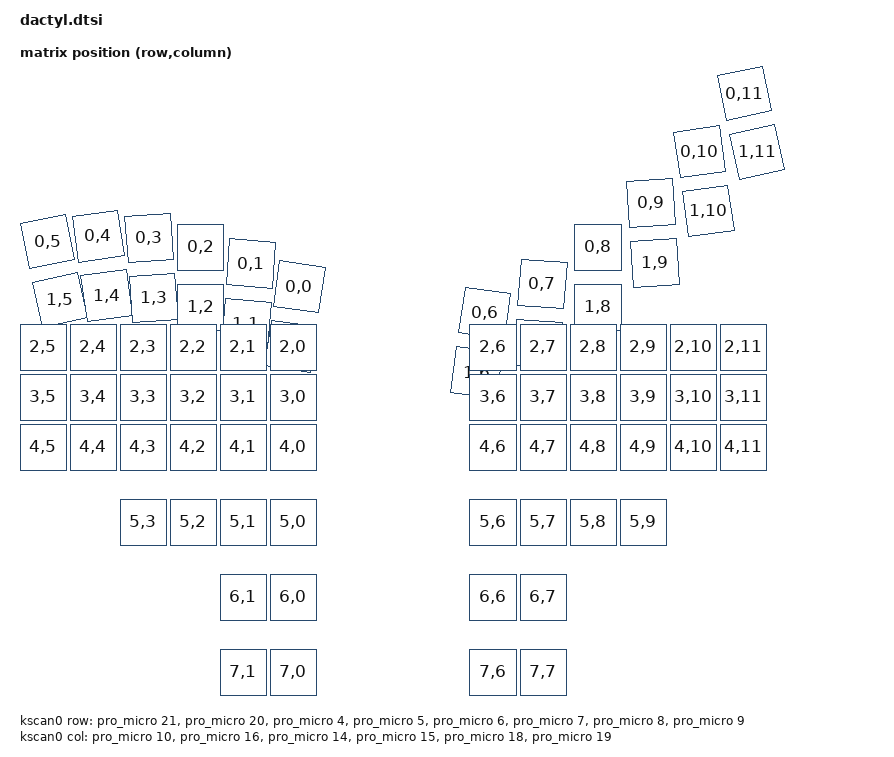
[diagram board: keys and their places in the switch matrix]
#include <dt-bindings/zmk/matrix_transform.h>
#include <physical_layouts.dtsi>

/ {
    chosen {
        zmk,kscan = &kscan0;
        zmk,physical-layout = &default_layout;
    };

    default_layout: physical_layout_0 {
        compatible = "zmk,physical-layout";
        display-name = "Dactyl Default";
        transform = <&default_transform>;
        kscan = <&kscan0>;

        // Key positions follow the 76 bindings in dactyl.keymap.
        // Values are width, height, X, Y, rotation, rotation-X, rotation-Y
        // in centi-keyunits/centi-degrees.
        keys =
            <&key_physical_attrs 100 100    0    0 (-1200) 0 0>
            , <&key_physical_attrs 100 100  105    0 (-800) 0 0>
            , <&key_physical_attrs 100 100  210    0 (-400) 0 0>
            , <&key_physical_attrs 100 100  315    0 0 0 0>
            , <&key_physical_attrs 100 100  420    0 400 0 0>
            , <&key_physical_attrs 100 100  525    0 800 0 0>
            , <&key_physical_attrs 100 100  900    0 800 0 0>
            , <&key_physical_attrs 100 100 1005    0 400 0 0>
            , <&key_physical_attrs 100 100 1110    0 0 0 0>
            , <&key_physical_attrs 100 100 1215    0 (-400) 0 0>
            , <&key_physical_attrs 100 100 1320    0 (-800) 0 0>
            , <&key_physical_attrs 100 100 1425    0 (-1200) 0 0>

            , <&key_physical_attrs 100 100    0  120 (-1200) 0 0>
            , <&key_physical_attrs 100 100  105  120 (-800) 0 0>
            , <&key_physical_attrs 100 100  210  120 (-400) 0 0>
            , <&key_physical_attrs 100 100  315  120 0 0 0>
            , <&key_physical_attrs 100 100  420  120 400 0 0>
            , <&key_physical_attrs 100 100  525  120 800 0 0>
            , <&key_physical_attrs 100 100  900  120 800 0 0>
            , <&key_physical_attrs 100 100 1005  120 400 0 0>
            , <&key_physical_attrs 100 100 1110  120 0 0 0>
            , <&key_physical_attrs 100 100 1215  120 (-400) 0 0>
            , <&key_physical_attrs 100 100 1320  120 (-800) 0 0>
            , <&key_physical_attrs 100 100 1425  120 (-1200) 0 0>

            , <&key_physical_attrs 100 100    0  200 0 0 0>
            , <&key_physical_attrs 100 100  100  200 0 0 0>
            , <&key_physical_attrs 100 100  200  200 0 0 0>
            , <&key_physical_attrs 100 100  300  200 0 0 0>
            , <&key_physical_attrs 100 100  400  200 0 0 0>
            , <&key_physical_attrs 100 100  500  200 0 0 0>
            , <&key_physical_attrs 100 100  900  200 0 0 0>
            , <&key_physical_attrs 100 100 1000  200 0 0 0>
            , <&key_physical_attrs 100 100 1100  200 0 0 0>
            , <&key_physical_attrs 100 100 1200  200 0 0 0>
            , <&key_physical_attrs 100 100 1300  200 0 0 0>
            , <&key_physical_attrs 100 100 1400  200 0 0 0>

            , <&key_physical_attrs 100 100    0  300 0 0 0>
            , <&key_physical_attrs 100 100  100  300 0 0 0>
            , <&key_physical_attrs 100 100  200  300 0 0 0>
            , <&key_physical_attrs 100 100  300  300 0 0 0>
            , <&key_physical_attrs 100 100  400  300 0 0 0>
            , <&key_physical_attrs 100 100  500  300 0 0 0>
            , <&key_physical_attrs 100 100  900  300 0 0 0>
            , <&key_physical_attrs 100 100 1000  300 0 0 0>
            , <&key_physical_attrs 100 100 1100  300 0 0 0>
            , <&key_physical_attrs 100 100 1200  300 0 0 0>
            , <&key_physical_attrs 100 100 1300  300 0 0 0>
            , <&key_physical_attrs 100 100 1400  300 0 0 0>

            , <&key_physical_attrs 100 100    0  400 0 0 0>
            , <&key_physical_attrs 100 100  100  400 0 0 0>
            , <&key_physical_attrs 100 100  200  400 0 0 0>
            , <&key_physical_attrs 100 100  300  400 0 0 0>
            , <&key_physical_attrs 100 100  400  400 0 0 0>
            , <&key_physical_attrs 100 100  500  400 0 0 0>
            , <&key_physical_attrs 100 100  900  400 0 0 0>
            , <&key_physical_attrs 100 100 1000  400 0 0 0>
            , <&key_physical_attrs 100 100 1100  400 0 0 0>
            , <&key_physical_attrs 100 100 1200  400 0 0 0>
            , <&key_physical_attrs 100 100 1300  400 0 0 0>
            , <&key_physical_attrs 100 100 1400  400 0 0 0>

            , <&key_physical_attrs 100 100  200  550 0 0 0>
            , <&key_physical_attrs 100 100  300  550 0 0 0>
            , <&key_physical_attrs 100 100  400  550 0 0 0>
            , <&key_physical_attrs 100 100  500  550 0 0 0>
            , <&key_physical_attrs 100 100  900  550 0 0 0>
            , <&key_physical_attrs 100 100 1000  550 0 0 0>
            , <&key_physical_attrs 100 100 1100  550 0 0 0>
            , <&key_physical_attrs 100 100 1200  550 0 0 0>

            , <&key_physical_attrs 100 100  400  700 0 0 0>
            , <&key_physical_attrs 100 100  500  700 0 0 0>
            , <&key_physical_attrs 100 100  900  700 0 0 0>
            , <&key_physical_attrs 100 100 1000  700 0 0 0>

            , <&key_physical_attrs 100 100  400  850 0 0 0>
            , <&key_physical_attrs 100 100  500  850 0 0 0>
            , <&key_physical_attrs 100 100  900  850 0 0 0>
            , <&key_physical_attrs 100 100 1000  850 0 0 0>
            ;
    };

    default_transform: keymap_transform_0 {
        compatible = "zmk,matrix-transform";
        columns = <12>; // 6 per half
        rows = <8>;     // 8 rows

        map = <
            // Left Half (Physical columns C6 -> C1)         // Right Half (Physical columns C1 -> C6)
            RC(0,5) RC(0,4) RC(0,3) RC(0,2) RC(0,1) RC(0,0)  RC(0,6) RC(0,7) RC(0,8) RC(0,9) RC(0,10) RC(0,11)
            RC(1,5) RC(1,4) RC(1,3) RC(1,2) RC(1,1) RC(1,0)  RC(1,6) RC(1,7) RC(1,8) RC(1,9) RC(1,10) RC(1,11)
            RC(2,5) RC(2,4) RC(2,3) RC(2,2) RC(2,1) RC(2,0)  RC(2,6) RC(2,7) RC(2,8) RC(2,9) RC(2,10) RC(2,11)
            RC(3,5) RC(3,4) RC(3,3) RC(3,2) RC(3,1) RC(3,0)  RC(3,6) RC(3,7) RC(3,8) RC(3,9) RC(3,10) RC(3,11)
            RC(4,5) RC(4,4) RC(4,3) RC(4,2) RC(4,1) RC(4,0)  RC(4,6) RC(4,7) RC(4,8) RC(4,9) RC(4,10) RC(4,11)
                            RC(5,3) RC(5,2) RC(5,1) RC(5,0)  RC(5,6) RC(5,7) RC(5,8) RC(5,9)
                                            RC(6,1) RC(6,0)  RC(6,6) RC(6,7)
                                            RC(7,1) RC(7,0)  RC(7,6) RC(7,7)
        >;
    };

    kscan0: kscan_0 {
        compatible = "zmk,kscan-gpio-matrix";
        wakeup-source;
        diode-direction = "col2row"; // Change to "row2col" if your diodes face the columns

        col-gpios
            = <&pro_micro 10 (GPIO_ACTIVE_HIGH)> // C1
            , <&pro_micro 16 (GPIO_ACTIVE_HIGH)> // C2
            , <&pro_micro 14 (GPIO_ACTIVE_HIGH)> // C3
            , <&pro_micro 15 (GPIO_ACTIVE_HIGH)> // C4
            , <&pro_micro 18 (GPIO_ACTIVE_HIGH)> // C5
            , <&pro_micro 19 (GPIO_ACTIVE_HIGH)> // C6
            ;

        row-gpios
            = <&pro_micro 21 (GPIO_ACTIVE_HIGH | GPIO_PULL_DOWN)> // R1
            , <&pro_micro 20 (GPIO_ACTIVE_HIGH | GPIO_PULL_DOWN)> // R2
            , <&pro_micro 4  (GPIO_ACTIVE_HIGH | GPIO_PULL_DOWN)> // R3
            , <&pro_micro 5  (GPIO_ACTIVE_HIGH | GPIO_PULL_DOWN)> // R4
            , <&pro_micro 6  (GPIO_ACTIVE_HIGH | GPIO_PULL_DOWN)> // R5
            , <&pro_micro 7  (GPIO_ACTIVE_HIGH | GPIO_PULL_DOWN)> // R6
            , <&pro_micro 8  (GPIO_ACTIVE_HIGH | GPIO_PULL_DOWN)> // R7
            , <&pro_micro 9  (GPIO_ACTIVE_HIGH | GPIO_PULL_DOWN)> // R8
            ;
    };
};
